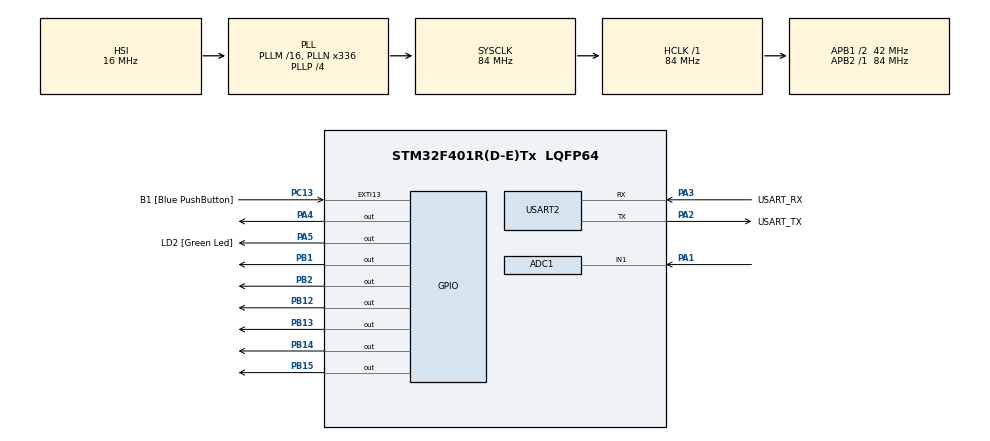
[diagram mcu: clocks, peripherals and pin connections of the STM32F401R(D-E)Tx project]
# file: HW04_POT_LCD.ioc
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ADC1.Channel-0\#ChannelRegularConversion=ADC_CHANNEL_1
ADC1.NbrOfConversionFlag=1
ADC1.Rank-0\#ChannelRegularConversion=1
ADC1.SamplingTime-0\#ChannelRegularConversion=ADC_SAMPLETIME_480CYCLES
ADC1.master=1
Mcu.Family=STM32F4
Mcu.Name=STM32F401R(D-E)Tx
Mcu.Package=LQFP64
NVIC.ADC_IRQn=true\:0\:0\:false\:false\:true\:true\:true\:true
NVIC.PriorityGroup=NVIC_PRIORITYGROUP_0
NVIC.TIM2_IRQn=true\:0\:0\:false\:false\:true\:true\:true\:true
PA1.Signal=ADCx_IN1
PA13.GPIO_Label=TMS
PA13.Mode=Serial_Wire
PA13.Signal=SYS_JTMS-SWDIO
PA14.GPIO_Label=TCK
PA14.Mode=Serial_Wire
PA14.Signal=SYS_JTCK-SWCLK
PA2.GPIO_Label=USART_TX
PA2.GPIO_Mode=GPIO_MODE_AF_PP
PA2.GPIO_PuPd=GPIO_NOPULL
PA2.GPIO_Speed=GPIO_SPEED_FREQ_LOW
PA2.Mode=Asynchronous
PA2.Signal=USART2_TX
PA3.GPIO_Label=USART_RX
PA3.GPIO_Mode=GPIO_MODE_AF_PP
PA3.GPIO_PuPd=GPIO_NOPULL
PA3.GPIO_Speed=GPIO_SPEED_FREQ_LOW
PA3.Mode=Asynchronous
PA3.Signal=USART2_RX
PA4.Signal=GPIO_Output
PA5.GPIO_Label=LD2 [Green Led]
PA5.GPIO_Mode=GPIO_MODE_OUTPUT_PP
PA5.GPIO_PuPd=GPIO_NOPULL
PA5.GPIO_Speed=GPIO_SPEED_FREQ_LOW
PA5.Signal=GPIO_Output
PB1.Signal=GPIO_Output
PB12.Signal=GPIO_Output
PB13.Signal=GPIO_Output
PB14.Signal=GPIO_Output
PB15.Signal=GPIO_Output
PB2.Signal=GPIO_Output
PB3.GPIO_Label=SWO
PB3.Signal=SYS_JTDO-SWO
PC13-ANTI_TAMP.GPIO_Label=B1 [Blue PushButton]
PC13-ANTI_TAMP.GPIO_ModeDefaultEXTI=GPIO_MODE_IT_FALLING
PC13-ANTI_TAMP.GPIO_PuPd=GPIO_NOPULL
PC13-ANTI_TAMP.Signal=GPXTI13
PC14-OSC32_IN.Mode=LSE-External-Oscillator
PC14-OSC32_IN.Signal=RCC_OSC32_IN
PC15-OSC32_OUT.Mode=LSE-External-Oscillator
PC15-OSC32_OUT.Signal=RCC_OSC32_OUT
PH0\ -\ OSC_IN.Mode=HSE-External-Clock-Source
PH0\ -\ OSC_IN.Signal=RCC_OSC_IN
PH1\ -\ OSC_OUT.Mode=HSE-External-Clock-Source
PH1\ -\ OSC_OUT.Signal=RCC_OSC_OUT
ProjectManager.HeapSize=0x200
ProjectManager.StackSize=0x400
ProjectManager.TargetToolchain=STM32CubeIDE
RCC.48MHZClocksFreq_Value=48000000
RCC.AHBFreq_Value=84000000
RCC.APB1CLKDivider=RCC_HCLK_DIV2
RCC.APB1Freq_Value=42000000
RCC.APB1TimFreq_Value=84000000
RCC.APB2Freq_Value=84000000
RCC.APB2TimFreq_Value=84000000
RCC.CortexFreq_Value=84000000
RCC.HCLKFreq_Value=84000000
RCC.HSE_VALUE=8000000
RCC.HSI_VALUE=16000000
RCC.PLLN=336
RCC.PLLP=RCC_PLLP_DIV4
RCC.PLLQ=7
RCC.SYSCLKFreq_VALUE=84000000
RCC.SYSCLKSource=RCC_SYSCLKSOURCE_PLLCLK
RCC.VCOOutputFreq_Value=336000000
SH.ADCx_IN1.0=ADC1_IN1,IN1
TIM2.Period=10000
TIM2.Prescaler=4800
USART2.VirtualMode=VM_ASYNC
VP_TIM2_VS_ClockSourceINT.Mode=Internal
board=NUCLEO-F401RE

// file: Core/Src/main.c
/* USER CODE BEGIN Header */
/**
 ******************************************************************************
 * @file           : main.c
 * @brief          : Main program body
 ******************************************************************************
 * @attention
 *
 * Copyright (c) 2022 STMicroelectronics.
 * All rights reserved.
 *
 * This software is licensed under terms that can be found in the LICENSE file
 * in the root directory of this software component.
 * If no LICENSE file comes with this software, it is provided AS-IS.
 *
 ******************************************************************************
 */
/* USER CODE END Header */
#include "main.h"

/* USER CODE BEGIN Includes */
#include "PMDB16_LCD.h"
/* USER CODE END Includes */

ADC_HandleTypeDef hadc1;

TIM_HandleTypeDef htim2;

UART_HandleTypeDef huart2;

void SystemClock_Config(void);
static void MX_GPIO_Init(void);
static void MX_USART2_UART_Init(void);
static void MX_ADC1_Init(void);
static void MX_TIM2_Init(void);

/* USER CODE BEGIN 0 */
char flag = 0;

void HAL_ADC_ConvCpltCallback(ADC_HandleTypeDef* hadc){
	if (hadc == &hadc1 && !flag){
		flag = 1;
	}
}

void HAL_TIM_PeriodElapsedCallback(TIM_HandleTypeDef * htim){
	if(htim == &htim2){
		HAL_TIM_Base_Stop_IT(&htim2);
		if(HAL_ADC_GetState(&hadc1) == HAL_ADC_STATE_READY | HAL_ADC_STATE_REG_EOC){
			HAL_ADC_Start_IT(&hadc1);
		}
		__HAL_TIM_SET_COUNTER(&htim2, 0);
		__HAL_TIM_CLEAR_FLAG(&htim2, TIM_FLAG_UPDATE);
		HAL_TIM_Base_Start_IT(&htim2);
	}
}
/* USER CODE END 0 */

int main(void)
{

	/* MCU Configuration--------------------------------------------------------*/

	/* Reset of all peripherals, Initializes the Flash interface and the Systick. */
	HAL_Init();

	/* Configure the system clock */
	SystemClock_Config();

	/* Initialize all configured peripherals */
	MX_GPIO_Init();
	MX_USART2_UART_Init();
	MX_ADC1_Init();
	MX_TIM2_Init();
	/* USER CODE BEGIN 2 */
	lcd_initialize();
	lcd_backlight_ON();
	char voltage[17];

	HAL_TIM_Base_Start_IT(&htim2);
	/* USER CODE END 2 */

	/* Infinite loop */
	/* USER CODE BEGIN WHILE */
	while (1)
	{
		if(flag == 1){
			HAL_ADC_Stop_IT(&hadc1);
			sprintf(voltage,"Voltage: %.3fV", (HAL_ADC_GetValue(&hadc1)*3.3)/4096);
			lcd_println(voltage, 0);
			char bar[17] = "                ";
			for (int i = 0; i < (HAL_ADC_GetValue(&hadc1)*17)/4096; ++i) {
				bar[i] = 255;
			}
			lcd_println(bar, 1);
			flag = 0;

		}
		/* USER CODE END WHILE */

	}
}

void SystemClock_Config(void)
{
	RCC_OscInitTypeDef RCC_OscInitStruct = {0};
	RCC_ClkInitTypeDef RCC_ClkInitStruct = {0};

	/** Configure the main internal regulator output voltage
	 */
	__HAL_RCC_PWR_CLK_ENABLE();
	__HAL_PWR_VOLTAGESCALING_CONFIG(PWR_REGULATOR_VOLTAGE_SCALE2);

	/** Initializes the RCC Oscillators according to the specified parameters
	 * in the RCC_OscInitTypeDef structure.
	 */
	RCC_OscInitStruct.OscillatorType = RCC_OSCILLATORTYPE_HSI;
	RCC_OscInitStruct.HSIState = RCC_HSI_ON;
	RCC_OscInitStruct.HSICalibrationValue = RCC_HSICALIBRATION_DEFAULT;
	RCC_OscInitStruct.PLL.PLLState = RCC_PLL_ON;
	RCC_OscInitStruct.PLL.PLLSource = RCC_PLLSOURCE_HSI;
	RCC_OscInitStruct.PLL.PLLM = 16;
	RCC_OscInitStruct.PLL.PLLN = 336;
	RCC_OscInitStruct.PLL.PLLP = RCC_PLLP_DIV4;
	RCC_OscInitStruct.PLL.PLLQ = 7;
	if (HAL_RCC_OscConfig(&RCC_OscInitStruct) != HAL_OK)
	{
		Error_Handler();
	}

	/** Initializes the CPU, AHB and APB buses clocks
	 */
	RCC_ClkInitStruct.ClockType = RCC_CLOCKTYPE_HCLK|RCC_CLOCKTYPE_SYSCLK
			|RCC_CLOCKTYPE_PCLK1|RCC_CLOCKTYPE_PCLK2;
	RCC_ClkInitStruct.SYSCLKSource = RCC_SYSCLKSOURCE_PLLCLK;
	RCC_ClkInitStruct.AHBCLKDivider = RCC_SYSCLK_DIV1;
	RCC_ClkInitStruct.APB1CLKDivider = RCC_HCLK_DIV2;
	RCC_ClkInitStruct.APB2CLKDivider = RCC_HCLK_DIV1;

	if (HAL_RCC_ClockConfig(&RCC_ClkInitStruct, FLASH_LATENCY_2) != HAL_OK)
	{
		Error_Handler();
	}
}

static void MX_ADC1_Init(void)
{

	ADC_ChannelConfTypeDef sConfig = {0};

	/** Configure the global features of the ADC (Clock, Resolution, Data Alignment and number of conversion)
	 */
	hadc1.Instance = ADC1;
	hadc1.Init.ClockPrescaler = ADC_CLOCK_SYNC_PCLK_DIV4;
	hadc1.Init.Resolution = ADC_RESOLUTION_12B;
	hadc1.Init.ScanConvMode = DISABLE;
	hadc1.Init.ContinuousConvMode = DISABLE;
	hadc1.Init.DiscontinuousConvMode = DISABLE;
	hadc1.Init.ExternalTrigConvEdge = ADC_EXTERNALTRIGCONVEDGE_NONE;
	hadc1.Init.ExternalTrigConv = ADC_SOFTWARE_START;
	hadc1.Init.DataAlign = ADC_DATAALIGN_RIGHT;
	hadc1.Init.NbrOfConversion = 1;
	hadc1.Init.DMAContinuousRequests = DISABLE;
	hadc1.Init.EOCSelection = ADC_EOC_SINGLE_CONV;
	if (HAL_ADC_Init(&hadc1) != HAL_OK)
	{
		Error_Handler();
	}

	/** Configure for the selected ADC regular channel its corresponding rank in the sequencer and its sample time.
	 */
	sConfig.Channel = ADC_CHANNEL_1;
	sConfig.Rank = 1;
	sConfig.SamplingTime = ADC_SAMPLETIME_480CYCLES;
	if (HAL_ADC_ConfigChannel(&hadc1, &sConfig) != HAL_OK)
	{
		Error_Handler();
	}

}

static void MX_TIM2_Init(void)
{

	TIM_ClockConfigTypeDef sClockSourceConfig = {0};
	TIM_MasterConfigTypeDef sMasterConfig = {0};

	htim2.Instance = TIM2;
	htim2.Init.Prescaler = 4800;
	htim2.Init.CounterMode = TIM_COUNTERMODE_UP;
	htim2.Init.Period = 10000;
	htim2.Init.ClockDivision = TIM_CLOCKDIVISION_DIV1;
	htim2.Init.AutoReloadPreload = TIM_AUTORELOAD_PRELOAD_DISABLE;
	if (HAL_TIM_Base_Init(&htim2) != HAL_OK)
	{
		Error_Handler();
	}
	sClockSourceConfig.ClockSource = TIM_CLOCKSOURCE_INTERNAL;
	if (HAL_TIM_ConfigClockSource(&htim2, &sClockSourceConfig) != HAL_OK)
	{
		Error_Handler();
	}
	sMasterConfig.MasterOutputTrigger = TIM_TRGO_RESET;
	sMasterConfig.MasterSlaveMode = TIM_MASTERSLAVEMODE_DISABLE;
	if (HAL_TIMEx_MasterConfigSynchronization(&htim2, &sMasterConfig) != HAL_OK)
	{
		Error_Handler();
	}

}

static void MX_USART2_UART_Init(void)
{

	huart2.Instance = USART2;
	huart2.Init.BaudRate = 115200;
	huart2.Init.WordLength = UART_WORDLENGTH_8B;
	huart2.Init.StopBits = UART_STOPBITS_1;
	huart2.Init.Parity = UART_PARITY_NONE;
	huart2.Init.Mode = UART_MODE_TX_RX;
	huart2.Init.HwFlowCtl = UART_HWCONTROL_NONE;
	huart2.Init.OverSampling = UART_OVERSAMPLING_16;
	if (HAL_UART_Init(&huart2) != HAL_OK)
	{
		Error_Handler();
	}

}

static void MX_GPIO_Init(void)
{
	GPIO_InitTypeDef GPIO_InitStruct = {0};

	/* GPIO Ports Clock Enable */
	__HAL_RCC_GPIOC_CLK_ENABLE();
	__HAL_RCC_GPIOH_CLK_ENABLE();
	__HAL_RCC_GPIOA_CLK_ENABLE();
	__HAL_RCC_GPIOB_CLK_ENABLE();

	/*Configure GPIO pin Output Level */
	HAL_GPIO_WritePin(GPIOA, GPIO_PIN_4|LD2_Pin, GPIO_PIN_RESET);

	/*Configure GPIO pin Output Level */
	HAL_GPIO_WritePin(GPIOB, GPIO_PIN_1|GPIO_PIN_2|GPIO_PIN_12|GPIO_PIN_13
			|GPIO_PIN_14|GPIO_PIN_15, GPIO_PIN_RESET);

	/*Configure GPIO pin : B1_Pin */
	GPIO_InitStruct.Pin = B1_Pin;
	GPIO_InitStruct.Mode = GPIO_MODE_IT_FALLING;
	GPIO_InitStruct.Pull = GPIO_NOPULL;
	HAL_GPIO_Init(B1_GPIO_Port, &GPIO_InitStruct);

	/*Configure GPIO pins : PA4 LD2_Pin */
	GPIO_InitStruct.Pin = GPIO_PIN_4|LD2_Pin;
	GPIO_InitStruct.Mode = GPIO_MODE_OUTPUT_PP;
	GPIO_InitStruct.Pull = GPIO_NOPULL;
	GPIO_InitStruct.Speed = GPIO_SPEED_FREQ_LOW;
	HAL_GPIO_Init(GPIOA, &GPIO_InitStruct);

	/*Configure GPIO pins : PB1 PB2 PB12 PB13
                           PB14 PB15 */
	GPIO_InitStruct.Pin = GPIO_PIN_1|GPIO_PIN_2|GPIO_PIN_12|GPIO_PIN_13
			|GPIO_PIN_14|GPIO_PIN_15;
	GPIO_InitStruct.Mode = GPIO_MODE_OUTPUT_PP;
	GPIO_InitStruct.Pull = GPIO_NOPULL;
	GPIO_InitStruct.Speed = GPIO_SPEED_FREQ_LOW;
	HAL_GPIO_Init(GPIOB, &GPIO_InitStruct);

}

void Error_Handler(void)
{
	__disable_irq();
	while (1)
	{
	}
}
